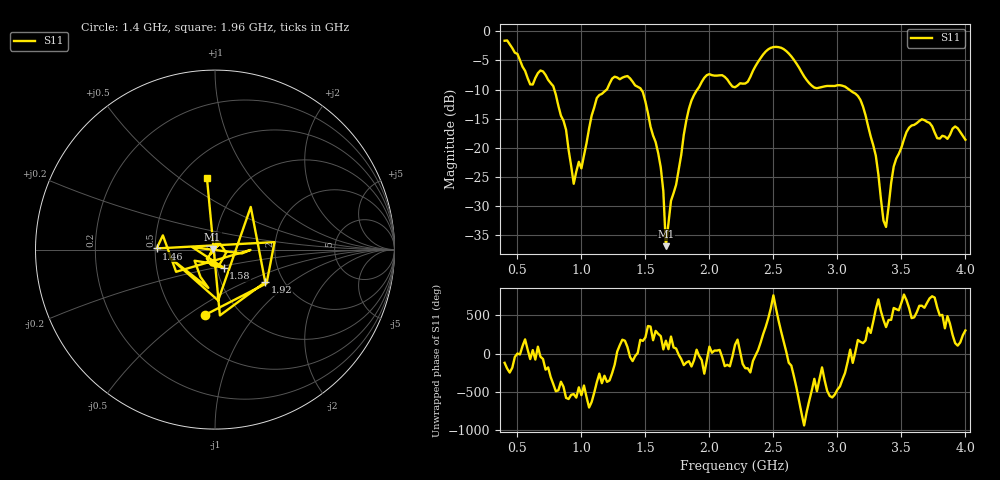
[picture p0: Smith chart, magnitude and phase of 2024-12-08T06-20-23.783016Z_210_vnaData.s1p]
!Created with skrf (http://scikit-rf.org).
# Hz S RI R 50.0
!freq ReS11 ImS11
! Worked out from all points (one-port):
!   181 points, 400 MHz to 4 GHz, reference 50 ohm
!   lowest |S11| = -36.9 dB at 1.66 GHz (marker M1), VSWR 1.03, Z = 48.6 + j0.301 ohm
!   |S11| at or under -10 dB: 788.2 MHz to 1.198 GHz (409.5 MHz wide, 41.2 % of centre); 1.467 GHz to 1.905 GHz (438.2 MHz wide, 26 % of centre); 3.092 GHz to end of sweep
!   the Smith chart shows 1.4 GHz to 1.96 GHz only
!   S11 on the Smith chart (normalised r, x): 1.4 GHz: 0.69, -0.58; 1.46 GHz: 0.51, +0.01; 1.58 GHz: 1.08, -0.22; 1.92 GHz: 1.61, -0.66; 1.96 GHz: 0.67, +0.64
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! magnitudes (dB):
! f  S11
! 400 MHz  -1.6
! 600 MHz  -9.1
! 700 MHz  -6.9
! 860 MHz  -15.3
! 940 MHz  -26.2
! 1.12 GHz  -11.5
! 1.3 GHz  -8.2
! 1.4 GHz  -8.6
! 1.46 GHz  -9.8
! 1.58 GHz  -19.0
! 1.64 GHz  -27.5
! 1.66 GHz  -36.9
! 1.7 GHz  -29.1
! 1.76 GHz  -23.8
! 1.84 GHz  -13.3
! 1.92 GHz  -9.5
! 1.96 GHz  -8.0
! 2.2 GHz  -9.6
! 2.48 GHz  -2.8
! 2.66 GHz  -4.9
! 2.82 GHz  -9.7
! 3.1 GHz  -10.1
! 3.22 GHz  -14.4
! 3.3 GHz  -21.4
! 3.38 GHz  -33.6
! 3.44 GHz  -23.2
! 3.56 GHz  -16.6
! 4 GHz  -18.6
